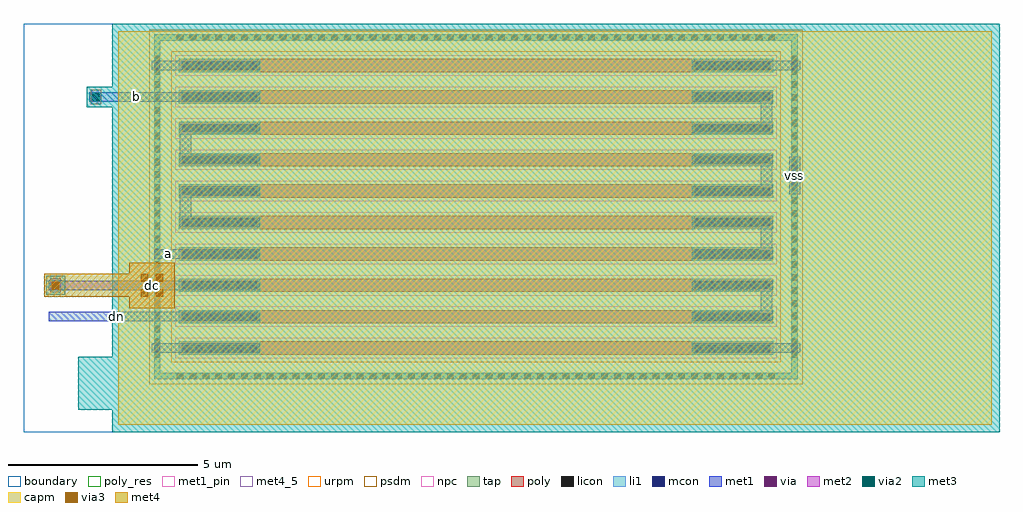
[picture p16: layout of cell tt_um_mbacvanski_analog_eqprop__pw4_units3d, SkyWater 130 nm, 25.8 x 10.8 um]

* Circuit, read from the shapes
.subckt tt_um_mbacvanski_analog_eqprop__pw4_units3d a b dc dn vss
XC1 dc b sky130_fd_pr__cap_mim_m3_1 w=23.1 l=10.4
XR2 vss vss vss sky130_fd_pr__res_xhigh_po w=0.35 l=11.44 m=2
XR3 tt_um_mbacvanski_analog_eqprop__strips10_0/R1_7 dn vss sky130_fd_pr__res_xhigh_po w=0.35 l=11.44
XR4 tt_um_mbacvanski_analog_eqprop__strips10_0/R1_7 dc vss sky130_fd_pr__res_xhigh_po w=0.35 l=11.44
XR5 tt_um_mbacvanski_analog_eqprop__strips10_0/R1_5 a vss sky130_fd_pr__res_xhigh_po w=0.35 l=11.44
XR6 tt_um_mbacvanski_analog_eqprop__strips10_0/R1_5 tt_um_mbacvanski_analog_eqprop__strips10_0/R2_4 vss sky130_fd_pr__res_xhigh_po w=0.35 l=11.44
XR7 tt_um_mbacvanski_analog_eqprop__strips10_0/R1_3 tt_um_mbacvanski_analog_eqprop__strips10_0/R2_4 vss sky130_fd_pr__res_xhigh_po w=0.35 l=11.44
XR8 tt_um_mbacvanski_analog_eqprop__strips10_0/R1_3 tt_um_mbacvanski_analog_eqprop__strips10_0/R2_2 vss sky130_fd_pr__res_xhigh_po w=0.35 l=11.44
XR9 tt_um_mbacvanski_analog_eqprop__strips10_0/R1_1 tt_um_mbacvanski_analog_eqprop__strips10_0/R2_2 vss sky130_fd_pr__res_xhigh_po w=0.35 l=11.44
XR10 tt_um_mbacvanski_analog_eqprop__strips10_0/R1_1 b vss sky130_fd_pr__res_xhigh_po w=0.35 l=11.44
.ends

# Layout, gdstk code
from math import pi, radians
import gdstk
lib = gdstk.Library(unit=1e-6, precision=1e-09)
def R(c, l, rs):  # rectangles x0, y0, x1, y1
    for r in rs: c.add(gdstk.rectangle(r[:2], r[2:], *l))
def A(c, l, x, y, w, h, nx, ny, dx, dy):  # array of equal rectangles
    R(c, l, [(x+i*dx, y+j*dy, x+i*dx+w, y+j*dy+h) for i in range(nx) for j in range(ny)])
tap = (65, 44)
poly_res = (66, 13)
poly = (66, 20)
licon = (66, 44)
li1 = (67, 20)
mcon = (67, 44)
met1_pin = (68, 16)
met1 = (68, 20)
via = (68, 44)
met2 = (69, 20)
via2 = (69, 44)
met3 = (70, 20)
via3 = (70, 44)
met4_5 = (71, 5)
met4 = (71, 20)
urpm = (79, 20)
capm = (89, 44)
psdm = (94, 20)
npc = (95, 20)
boundary = (235, 4)

tt_um_mbacvanski_analog_ = lib.new_cell('tt_um_mbacvanski_analog_eqprop__strips10')
A(tt_um_mbacvanski_analog_, poly_res, -3.91, -5.78, 0.35, 11.56, 10, 1, 0.83, 0)
A(tt_um_mbacvanski_analog_, poly, -3.91, -7.86, 0.35, 15.72, 10, 1, 0.83, 0)
A(tt_um_mbacvanski_analog_, licon, -3.83, -7.78, 0.19, 2, 10, 2, 0.83, 13.56)
A(tt_um_mbacvanski_analog_, li1, -3.91, -7.86, 0.35, 2.16, 10, 2, 0.83, 13.56)
A(tt_um_mbacvanski_analog_, mcon, -3.82, -7.765, 0.17, 0.17, 10, 6, 0.83, 0.36)
A(tt_um_mbacvanski_analog_, mcon, -3.82, 5.79, 0.17, 0.17, 10, 6, 0.83, 0.36)
A(tt_um_mbacvanski_analog_, met1, -3.86, -7.83, 0.25, 2.105, 10, 2, 0.83, 13.555)
R(tt_um_mbacvanski_analog_, urpm, [(-4.11,-8.06,4.11,8.06)])
R(tt_um_mbacvanski_analog_, psdm, [(-4.02,-7.97,4.02,7.97)])
A(tt_um_mbacvanski_analog_, npc, -4.005, -7.955, 0.54, 15.91, 10, 1, 0.83, 0)
tt_um_mbacvanski_analog_.add(gdstk.Label('R2_9', (3.735,-7.685), layer=67, texttype=5))
tt_um_mbacvanski_analog_.add(gdstk.Label('R1_9', (3.735,7.685), layer=67, texttype=5))
tt_um_mbacvanski_analog_.add(gdstk.Label('R2_8', (2.905,-7.685), layer=67, texttype=5))
tt_um_mbacvanski_analog_.add(gdstk.Label('R1_8', (2.905,7.685), layer=67, texttype=5))
tt_um_mbacvanski_analog_.add(gdstk.Label('R2_7', (2.075,-7.685), layer=67, texttype=5))
tt_um_mbacvanski_analog_.add(gdstk.Label('R1_7', (2.075,7.685), layer=67, texttype=5))
tt_um_mbacvanski_analog_.add(gdstk.Label('R2_6', (1.245,-7.685), layer=67, texttype=5))
tt_um_mbacvanski_analog_.add(gdstk.Label('R1_0', (-3.735,7.685), layer=67, texttype=5))
tt_um_mbacvanski_analog_.add(gdstk.Label('R1_3', (-1.245,7.685), layer=67, texttype=5))
tt_um_mbacvanski_analog_.add(gdstk.Label('R1_1', (-2.905,7.685), layer=67, texttype=5))
tt_um_mbacvanski_analog_.add(gdstk.Label('R2_5', (0.415,-7.685), layer=67, texttype=5))
tt_um_mbacvanski_analog_.add(gdstk.Label('R2_0', (-3.735,-7.685), layer=67, texttype=5))
tt_um_mbacvanski_analog_.add(gdstk.Label('R2_1', (-2.905,-7.685), layer=67, texttype=5))
tt_um_mbacvanski_analog_.add(gdstk.Label('R2_2', (-2.075,-7.685), layer=67, texttype=5))
tt_um_mbacvanski_analog_.add(gdstk.Label('R1_6', (1.245,7.685), layer=67, texttype=5))
tt_um_mbacvanski_analog_.add(gdstk.Label('R2_3', (-1.245,-7.685), layer=67, texttype=5))
tt_um_mbacvanski_analog_.add(gdstk.Label('R1_2', (-2.075,7.685), layer=67, texttype=5))
tt_um_mbacvanski_analog_.add(gdstk.Label('R2_4', (-0.415,-7.685), layer=67, texttype=5))
tt_um_mbacvanski_analog_.add(gdstk.Label('R1_5', (0.415,7.685), layer=67, texttype=5))
tt_um_mbacvanski_analog_.add(gdstk.Label('R1_4', (-0.415,7.685), layer=67, texttype=5))

c_tt_um_mbacvanski_analog_ = lib.new_cell('tt_um_mbacvanski_analog_eqprop__pw4_units3d')
R(c_tt_um_mbacvanski_analog_, tap, [(3.45,1.4,20.47,1.57), (3.45,1.57,3.62,10.35), (20.3,1.57,20.47,10.35), (3.45,10.35,20.47,10.52)])
A(c_tt_um_mbacvanski_analog_, licon, 4.055, 1.4, 0.17, 0.17, 47, 2, 0.34, 8.95)
A(c_tt_um_mbacvanski_analog_, licon, 3.45, 1.965, 0.17, 0.17, 1, 24, 0, 0.34)
A(c_tt_um_mbacvanski_analog_, licon, 20.3, 1.965, 0.17, 0.17, 1, 24, 0, 0.34)
R(c_tt_um_mbacvanski_analog_, li1, [(3.45,1.4,20.47,1.57), (3.45,1.57,3.62,10.35), (20.3,1.57,20.47,10.35), (3.45,10.35,20.47,10.52)])
R(c_tt_um_mbacvanski_analog_, mcon, [(3.45,2.14,3.62,2.31), (20.3,2.14,20.47,2.31), (20.3,6.525,20.47,6.695), (20.3,6.885,20.47,7.055), (3.45,9.61,3.62,9.78), (20.3,9.61,20.47,9.78)])
R(c_tt_um_mbacvanski_analog_, met1_pin, [(2.4,3.005,2.5,3.105), (3.79,4.665,3.89,4.765), (20.335,6.74,20.435,6.84), (2.935,8.815,3.035,8.915)])
A(c_tt_um_mbacvanski_analog_, met1, 19.49, 2.93, 0.3, 1.08, 1, 4, 0, 1.66)
R(c_tt_um_mbacvanski_analog_, met1, [(3.42,2.1,4.23,2.11), (19.69,2.1,20.5,2.11), (3.39,2.11,4.23,2.34), (19.69,2.11,20.53,2.34), (3.42,2.34,4.23,2.35), (19.69,2.34,20.5,2.35), (0.67,2.93,4.23,3.18), (0.67,3.755,1.03,3.76), (0.67,3.76,4.23,4.01), (0.67,4.01,1.03,4.015), (3.45,4.59,4.23,4.84), (4.13,5.42,4.43,6.5), (20.24,6.29,20.53,7.29), (4.13,7.08,4.43,8.16), (1.74,8.735,2.1,8.74), (1.74,8.74,4.23,8.99), (1.74,8.99,2.1,8.995), (3.42,9.57,4.23,9.58), (19.69,9.57,20.5,9.58), (3.39,9.58,4.23,9.81), (19.69,9.58,20.53,9.81), (3.42,9.81,4.23,9.82), (19.69,9.81,20.5,9.82)])
R(c_tt_um_mbacvanski_analog_, via, [(0.775,3.81,0.925,3.96), (1.845,8.79,1.995,8.94)])
R(c_tt_um_mbacvanski_analog_, met2, [(0.71,3.695,0.99,4.075), (1.78,8.675,2.06,9.055)])
R(c_tt_um_mbacvanski_analog_, via2, [(0.75,3.785,0.95,3.985), (1.82,8.765,2.02,8.965)])
R(c_tt_um_mbacvanski_analog_, met3, [(2.35,0,25.8,0.6), (1.45,0.6,25.8,2), (2.35,2,25.8,8.595), (0.6,3.635,1.1,4.135), (1.67,8.595,25.8,9.135), (2.35,9.135,25.8,10.8)])
R(c_tt_um_mbacvanski_analog_, via3, [(3.1,3.585,3.3,3.785), (3.5,3.585,3.7,3.785), (0.75,3.785,0.95,3.985), (3.1,3.985,3.3,4.185), (3.5,3.985,3.7,4.185)])
R(c_tt_um_mbacvanski_analog_, met4_5, [(3.35,3.835,3.45,3.935)])
R(c_tt_um_mbacvanski_analog_, met4, [(2.8,3.285,4,3.585), (0.55,3.585,4,4.185), (2.8,4.185,4,4.485)])
R(c_tt_um_mbacvanski_analog_, capm, [(2.5,0.2,25.6,10.6)])
R(c_tt_um_mbacvanski_analog_, psdm, [(3.325,1.275,20.595,1.94), (3.325,1.94,3.99,9.98), (19.93,1.94,20.595,9.98), (3.325,9.98,20.595,10.645)])
R(c_tt_um_mbacvanski_analog_, boundary, [(0,0,25.8,10.8)])
c_tt_um_mbacvanski_analog_.add(gdstk.Reference(tt_um_mbacvanski_analog_, (11.96,5.96), rotation=3*pi/2))
c_tt_um_mbacvanski_analog_.add(gdstk.Label('dc', (3.4,3.885), layer=71, texttype=5))
c_tt_um_mbacvanski_analog_.add(gdstk.Label('vss', (20.385,6.79), layer=68, texttype=5))
c_tt_um_mbacvanski_analog_.add(gdstk.Label('dn', (2.45,3.055), layer=68, texttype=5))
c_tt_um_mbacvanski_analog_.add(gdstk.Label('b', (2.985,8.865), layer=68, texttype=5))
c_tt_um_mbacvanski_analog_.add(gdstk.Label('a', (3.84,4.715), layer=68, texttype=5))

lib.write_gds('tt_um_mbacvanski_analog_eqprop__pw4_units3d.gds')
